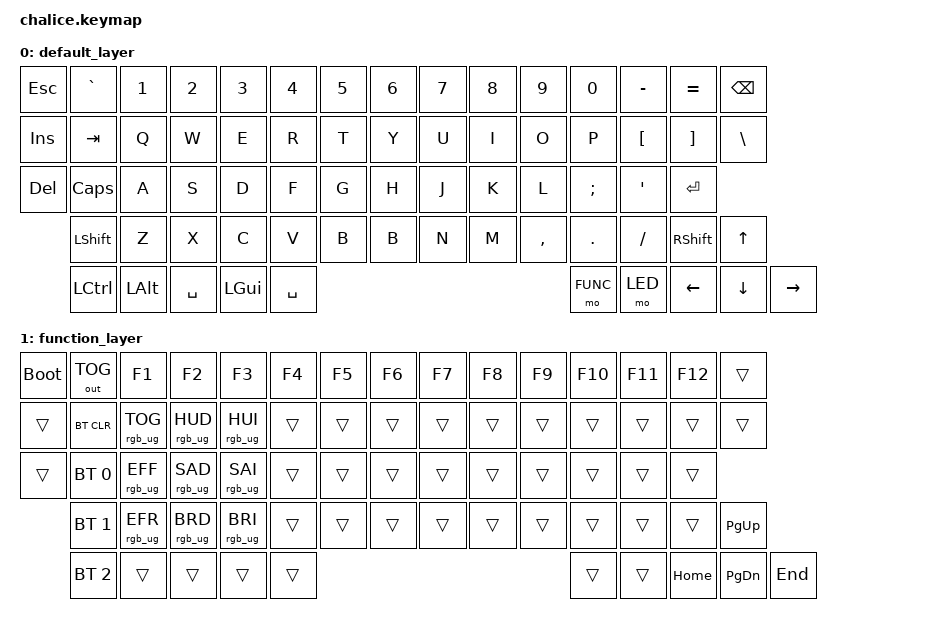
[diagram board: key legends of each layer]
/*
 * Copyright (c) 2021 The ZMK Contributors
 *
 * SPDX-License-Identifier: MIT
 */

#include <behaviors.dtsi>
#include <dt-bindings/zmk/keys.h>
#include <dt-bindings/zmk/bt.h>
#include <dt-bindings/zmk/rgb.h>
#include <dt-bindings/zmk/outputs.h>

#define COLE 0
#define FUNC 1
#define LED  2

/ {
    // Combos to replace ESC, TAB, BACKSPACE, ENTER
    combos {
        compatible = "zmk,combos";
        combo_tab {
            timeout-ms = <20>;
            key-positions = <18 19>;
            bindings = <&kp TAB>;
        };

        combo_esc {
            timeout-ms = <20>;
            key-positions = <46 47>;
            bindings = <&kp ESC>;
        };

        combo_backspace {
            timeout-ms = <20>;
            key-positions = <24 25>;
            bindings = <&kp BSPC>;
        };

        combo_enter {
            timeout-ms = <20>;
            key-positions = <53 54>;
            bindings = <&kp ENTER>;
        };
    };

    keymap {
        compatible = "zmk,keymap";
        default_layer {

                    bindings = <
   &kp ESC         &kp GRAVE    &kp N1       &kp N2       &kp N3       &kp N4       &kp N5       &kp N6       &kp N7       &kp N8       &kp N9       &kp N0       &kp MINUS    &kp EQUAL    &kp BSPC
   &kp INSERT      &kp TAB      &kp Q        &kp W        &kp E        &kp R        &kp T        &kp Y        &kp U        &kp I        &kp O        &kp P        &kp LBKT     &kp RBKT     &kp BSLH
   &kp DELETE      &kp CAPS     &kp A        &kp S        &kp D        &kp F        &kp G        &kp H        &kp J        &kp K        &kp L        &kp SEMI     &kp SQT      &kp ENTER
                   &kp LSHFT    &kp Z        &kp X        &kp C        &kp V        &kp B        &kp B        &kp N        &kp M        &kp COMMA    &kp DOT      &kp SLASH    &kp RSHFT    &kp UP
                   &kp LCTRL                 &kp LALT                  &kp SPACE    &kp LGUI                  &kp SPACE                 &mo FUNC                  &mo LED      &kp LEFT     &kp DOWN     &kp RIGHT
                                >;
        };

        function_layer {

                        bindings = <
   &bootloader     &out OUT_TOG &kp F1           &kp F2          &kp F3          &kp F4       &kp F5       &kp F6       &kp F7       &kp F8       &kp F9       &kp F10      &kp F11      &kp F12      &trans
   &trans          &bt BT_CLR   &rgb_ug RGB_TOG  &rgb_ug RGB_HUD &rgb_ug RGB_HUI &trans       &trans       &trans       &trans       &trans       &trans       &trans       &trans       &trans       &trans
   &trans          &bt BT_SEL 0 &rgb_ug RGB_EFF  &rgb_ug RGB_SAD &rgb_ug RGB_SAI &trans       &trans       &trans       &trans       &trans       &trans       &trans       &trans       &trans
                   &bt BT_SEL 1 &rgb_ug RGB_EFR  &rgb_ug RGB_BRD &rgb_ug RGB_BRI &trans       &trans       &trans       &trans       &trans       &trans       &trans       &trans       &trans       &kp PG_UP
                   &bt BT_SEL 2                  &trans                          &trans       &trans                    &trans                    &trans                    &trans       &kp HOME     &kp PG_DN    &kp END
                                >;
        };
    };
};
